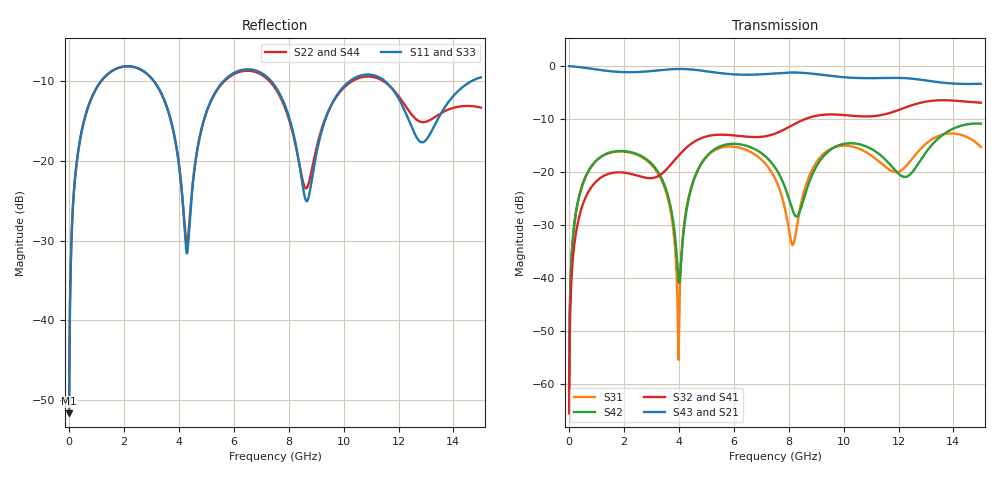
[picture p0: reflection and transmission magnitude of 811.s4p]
! Created with skrf 1.8.0 (http://scikit-rf.org).
# GHz S RI R 50.0
!freq ReS11 ImS11 ReS12 ImS12 ReS13 ImS13
! ReS14 ImS14
! ReS21 ImS21 ReS22 ImS22 ReS23 ImS23
! ReS24 ImS24
! ReS31 ImS31 ReS32 ImS32 ReS33 ImS33
! ReS34 ImS34
! ReS41 ImS41 ReS42 ImS42 ReS43 ImS43
! ReS44 ImS44
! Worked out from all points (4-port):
!   2499 points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, 5 MHz to 15 GHz, reference 50 ohm
!   strongest paths, dB at 5 MHz, 3.476 GHz, 7.19 GHz, 11.1 GHz, 15 GHz:
!     S43: 0.0, -0.7, -1.5, -2.3, -3.3
!     S21: 0.0, -0.7, -1.5, -2.3, -3.3
!     S32: -65.5, -19.9, -13.2, -9.4, -6.9
!     S41: -65.5, -19.9, -13.2, -9.5, -6.9
!     S42: -61.5, -22.4, -17.2, -15.9, -10.9
!     S31: -61.5, -22.9, -18.7, -17.2, -15.3
!   lowest |S11| = -51.7 dB at 5 MHz (marker M1), VSWR 1.01, Z = 50.2 + j0.159 ohm
!   |S11| at or under -10 dB: 3.094 GHz to 5.626 GHz (2.531 GHz wide, 58.1 % of centre); 7.364 GHz to 10.22 GHz (2.859 GHz wide, 32.5 % of centre); 11.51 GHz to 14.66 GHz (3.153 GHz wide, 24.1 % of centre) (the widest 3 of 4)
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0.005  0.00208 0.00158  0.9979 -0.00405  0.000106 0.00083  -0.000103 -0.000521
       0.9979 -0.00405  0.00208 0.00158  -0.000103 -0.000521  0.000106 0.00083
       0.000106 0.00083  -0.000103 -0.000521  0.00208 0.00158  0.9979 -0.00405
       -0.000103 -0.000521  0.000106 0.00083  0.9979 -0.00405  0.00208 0.00158
1.269279  0.2835 0.1718  0.5215 -0.7437  0.1311 0.0599  -0.0921 -0.00169
          0.5215 -0.7437  0.2825 0.1726  -0.0922 -0.0016  0.134 0.0558
          0.1311 0.0599  -0.0922 -0.0016  0.2835 0.1719  0.5215 -0.7437
          -0.0921 -0.00169  0.134 0.0558  0.5215 -0.7437  0.2826 0.1726
3.989162  0.0453 -0.0887  -0.894 -0.2878  -0.00169 -1.98e-05  -0.04 0.1372
          -0.894 -0.2878  0.0492 -0.0861  -0.0389 0.1375  -0.00887 -0.0038
          -0.00169 -1.98e-05  -0.0389 0.1375  0.0458 -0.0896  -0.8938 -0.2882
          -0.04 0.1372  -0.00887 -0.0038  -0.8938 -0.2882  0.0493 -0.0871
5.002084  0.1315 0.1531  -0.799 0.3978  0.1027 0.0933  0.1241 0.1777
          -0.799 0.3978  0.1323 0.1509  0.1257 0.1769  0.1083 0.0886
          0.1027 0.0933  0.1257 0.1769  0.1305 0.1515  -0.7996 0.3975
          0.1241 0.1777  0.1083 0.0886  -0.7996 0.3975  0.1315 0.1496
8.6411  0.0555 -0.0075  0.8496 0.1243  0.00733 0.0767  0.0401 -0.3166
        0.8496 0.1243  0.0673 -6.69e-05  0.0352 -0.3174  -0.0066 0.0665
        0.00733 0.0767  0.0352 -0.3174  0.0531 -0.00516  0.8498 0.1226
        0.0401 -0.3166  -0.0066 0.0665  0.8498 0.1226  0.0684 0.00335
11.34848  0.3221 -0.0738  -0.1213 -0.7606  0.0264 -0.1193  -0.3343 0.0777
          -0.1213 -0.7606  0.3196 -0.0502  -0.333 0.0866  0.0328 -0.1403
          0.0264 -0.1193  -0.333 0.0866  0.3196 -0.0675  -0.1232 -0.7614
          -0.3343 0.0777  0.0328 -0.1403  -0.1232 -0.7614  0.316 -0.0564
15  0.3341 0.000168  -0.2898 0.6167  0.1708 0.0245  0.4329 0.1223
    -0.2898 0.6167  0.2145 -0.0205  0.4378 0.1109  0.242 -0.1531
    0.1708 0.0245  0.4378 0.1109  0.3333 0.00162  -0.2861 0.6174
    0.4329 0.1223  0.242 -0.1531  -0.2861 0.6174  0.2213 -0.0246
